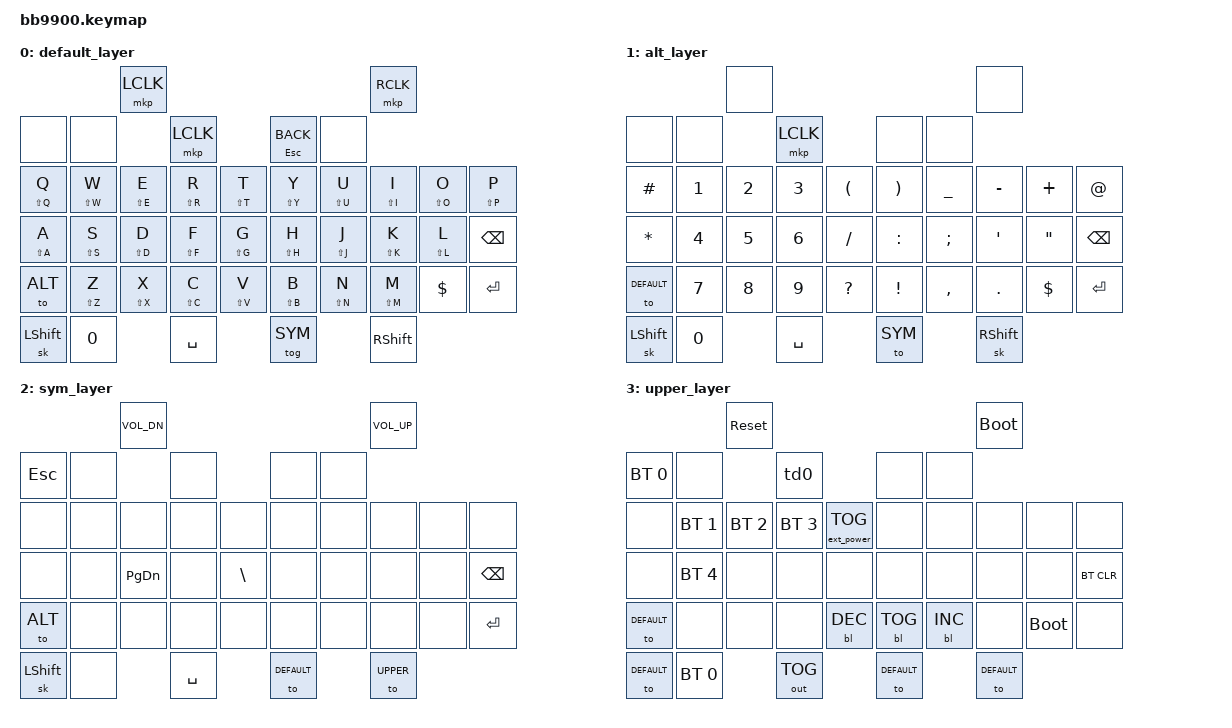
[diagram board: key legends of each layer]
/*
 * Copyright (c) 2023 ZitaoTech
 *
 * Fork of ZitaoTech's zmk-config_9900. Optimized for iOS and Windows usage.
 *
 * SPDX-License-Identifier: MIT
 */
  
#include <behaviors.dtsi>
#include <dt-bindings/zmk/keys.h>
#include <dt-bindings/zmk/bt.h>
#include <dt-bindings/zmk/outputs.h>
#include <dt-bindings/zmk/mouse.h>
#include <dt-bindings/zmk/backlight.h>
#include <dt-bindings/zmk/ext_power.h>

#define DEFAULT 0
#define ALT 1
#define SYM 2
#define UPPER 3

&sk {
    release-after-ms = <1000>;
};
&sl {
    release-after-ms = <1000>;
};

/ {
    behaviors {
        td0: tap_dance_0 {
            compatible = "zmk,behavior-tap-dance";
            #binding-cells = <0>;
            tapping-term-ms = <400>;
            bindings = <&mkp LCLK>, <&bt BT_CLR>;
        };
    };
    behaviors {
        hm: homerow_mods {
            compatible = "zmk,behavior-hold-tap";
            #binding-cells = <2>;
            tapping-term-ms = <500>;
            bindings = <&out &kp>;
        };
    };
    behaviors {
        tdp: tap_dance_punctuations {
            compatible = "zmk,behavior-tap-dance";
            #binding-cells = <0>;
            tapping-term-ms = <200>;
            bindings = <&kp DOT>, <&kp COMMA>, <&kp EXCL>, <&kp QMARK>;
        };
        skq: sticky_key_quick_release {
            compatible = "zmk,behavior-sticky-key";
            release-after-ms = <1000>;
            #binding-cells = <1>;
            bindings = <&kp>;
            quick-release;
        };
        hts: hold_tap_shift {
            compatible = "zmk,behavior-hold-tap";
            #binding-cells = <2>;
            flavor = "tap-preferred";
            tapping-term-ms = <100>;
            bindings = <&kp>, <&skq>;
        };
        tdsc: tap_dance_shft_clck {
            compatible = "zmk,behavior-tap-dance";
            #binding-cells = <0>;
            tapping-term-ms = <200>;
            bindings = <&hts CLCK LSHFT>, <&kp CLCK>;
        };
        htsk: hold_tap_skq_kp {
            compatible = "zmk,behavior-hold-tap";
            #binding-cells = <2>;
            flavor = "hold-preferred";
            tapping-term-ms = <100>;
            bindings = <&skq>, <&kp>;
        };
        tdcs: tap_dance_clck_shft {
            compatible = "zmk,behavior-tap-dance";
            #binding-cells = <0>;
            tapping-term-ms = <200>;
            bindings = <&htsk LSHFT CLCK>, <&skq LSHFT>;
        };
        htls: hold_tap_layer_sticky {
            compatible = "zmk,behavior-hold-tap";
            #binding-cells = <2>;
            flavor = "hold-preferred";
            tapping-term-ms = <100>;
            bindings = <&to>, <&msl>;
        };
        tdal: tap_dance_alt_layer {
            compatible = "zmk,behavior-tap-dance";
            #binding-cells = <0>;
            tapping-term-ms = <200>;
            bindings = <&htls ALT ALT>, <&to ALT>;
        };
        tdsl: tap_dance_sym_layer {
            compatible = "zmk,behavior-tap-dance";
            #binding-cells = <0>;
            tapping-term-ms = <200>;
            bindings = <&htls SYM SYM>, <&to SYM>, <&to UPPER>;
        };
        tddl: tap_dance_default_layer {
            compatible = "zmk,behavior-tap-dance";
            #binding-cells = <0>;
            tapping-term-ms = <200>;
            bindings = <&to DEFAULT>, <&to DEFAULT>;
        };
        tddul: tap_dance_default_upper_layer {
            compatible = "zmk,behavior-tap-dance";
            #binding-cells = <0>;
            tapping-term-ms = <200>;
            bindings = <&to DEFAULT>, <&to DEFAULT>, <&to UPPER>;
        };
        // Credit: Drexel Macintosh
        // mtt expects LS(letter) letter to recreate BlackBerry's tap for lowercase and hold for uppercase behavior.
        mtt: mod_tap_tap {
            compatible = "zmk,behavior-hold-tap";
            #binding-cells = <2>;
            flavor = "tap-preferred";
            tapping-term-ms = <200>;
            quick-tap-ms = <125>;
            require-prior-idle-ms = <125>;
            bindings = <&tap>, <&tap>;
        };
    };
    macros {
        msl: macro_sticky_layer {
            compatible = "zmk,behavior-macro-one-param";
            wait-ms = <0>;
            tap-ms = <0>;
            #binding-cells = <1>;
            bindings
                = <&macro_tap &to DEFAULT>
                , <&macro_param_1to1>
                , <&macro_tap &sl MACRO_PLACEHOLDER>
                ;
        };
        // Credit: Drexel Macintosh
        // tap will only send the keypress once, even if the key is held down.
        // This makes BlackBerry's hold for uppercase behavior easier to use.
        tap: tap {
            compatible = "zmk,behavior-macro-one-param";
            #binding-cells = <1>;
            // By default, macros will tap each behavior in the bindings list,
            // so this will tap "&kp <param1>".
            bindings = <&macro_param_1to1 &kp MACRO_PLACEHOLDER>;
        };
    };

    keymap {
        compatible = "zmk,keymap";

        default_layer {

            bindings = <

        /*
         *    KEYBOARD LAYOUT - ASCII by KyleBing
         *
                              ---------------------                                                                -------------------------
                             |    Shoulder Key1    |                                                              |      Shoulder Key2      |
                 ---------------------------------------------------------------------------------------------------------------------------------------------------
                |        Call key        |   Blackberry Key    |              Trackpad            |             Back Key           |          Endcall Key           |
                -----------------------------------------------------------------------------------------------------------------------------------------------------
                |     Q      |     W     |     E    |     R    |         T       |       Y        |        U       |       I       |        O        |      P       |
                -----------------------------------------------------------------------------------------------------------------------------------------------------
                |     A      |     S     |     D    |     F    |         G       |       H        |        J       |       K       |        L        |      ←       |
                -----------------------------------------------------------------------------------------------------------------------------------------------------
                 \    alt    |     Z     |     X    |     C    |         V       |       B        |        N       |       M       |        $        |    Enter    /
                   -----------------------------------------------------------------------------------------------------------------------------------------------
                              \      aA        |       0        |                    SPACE                  |          SYM          |         aA    /
                                -------------------------------------------------------------------------------------------------------------------
        */

                                   &mkp LCLK                                                                                          &mkp RCLK
    &none                &none                            &mkp LCLK                          &mt ESC K_BACK                    &none
    &mt LS(Q) Q        &mt LS(W) W      &mt LS(E) E       &mt LS(R) R     &mt LS(T) T         &mt LS(Y) Y             &mt LS(U) U            &mt LS(I) I            &mt LS(O) O            &mt LS(P) P
    &mt LS(A) A        &mt LS(S) S      &mt LS(D) D       &mt LS(F) F     &mt LS(G) G         &mt LS(H) H             &mt LS(J) J            &mt LS(K) K            &mt LS(L) L            &kp BSPC
    &to ALT            &mt LS(Z) Z      &mt LS(X) X       &mt LS(C) C     &mt LS(V) V         &mt LS(B) B             &mt LS(N) N            &mt LS(M) M            &kp DLLR         &kp ENTER
    &sk LSHFT               &kp 0                            &kp SPACE                          &tog SYM                          &kp RSHFT
            >;
        };


        alt_layer {

            bindings = <
                                    &none                                                                    &none
    &none                        &none                                &mkp LCLK                               &none                          &none 
    &kp HASH        &kp N1          &kp N2          &kp N3          &kp LPAR        &kp RPAR        &kp UNDER       &kp MINUS       &kp PLUS        &kp AT
    &kp STAR        &kp N4          &kp N5          &kp N6          &kp SLASH       &kp COLON       &kp SEMI        &kp APOS        &kp DQT         &kp BSPC
    &to DEFAULT     &kp N7          &kp N8          &kp N9          &kp QMARK       &kp EXCL        &kp COMMA       &kp DOT         &kp DLLR        &kp RET
                    &sk LSHFT       &kp N0                                  &kp SPACE                               &to SYM         &sk RSHFT

            >;
        };


        sym_layer {

            bindings = <
                                    &kp C_VOL_DN                                                                    &kp C_VOL_UP
    &kp ESC                         &none                              &none                        &none                      &none 
    &none       &none       &none        &none        &none        &none        &none          &none          &none       &none
    &none       &none       &kp PG_DN       &none           &kp BSLH        &none        &none        &none        &none         &kp BSPC
    &to ALT         &none       &none        &none        &none           &none        &none        &none          &none       &kp RET
                    &sk LSHFT       &none                               &kp SPACE                               &to DEFAULT     &to UPPER

            >;
        };

        upper_layer {

            bindings = <
                                    &sys_reset                                                                           &bootloader
    &bt BT_SEL 0                    &none                            &td0                                    &none                    &none
    &none           &bt BT_SEL 1    &bt BT_SEL 2    &bt BT_SEL 3    &ext_power EP_TOG &none         &none           &none           &none           &none
    &none           &bt BT_SEL 4    &none           &none           &none             &none         &none           &none           &none           &bt BT_CLR
    &to DEFAULT     &none           &none           &none           &bl BL_DEC        &bl BL_TOG    &bl BL_INC      &none           &bootloader     &none
                    &to DEFAULT     &bt BT_SEL 0                             &out OUT_TOG                            &to DEFAULT     &to DEFAULT
            >;
        };
    };
};

